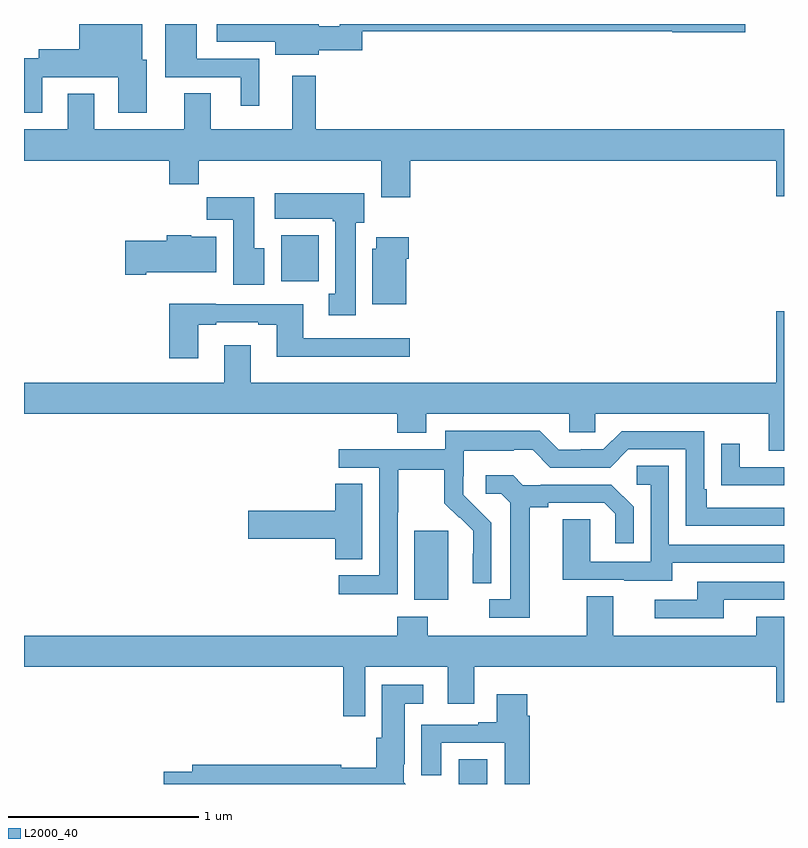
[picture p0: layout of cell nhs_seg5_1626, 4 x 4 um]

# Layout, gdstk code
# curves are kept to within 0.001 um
import gdstk
lib = gdstk.Library(unit=1e-6, precision=1e-09)
def R(c, l, rs):  # rectangles x0, y0, x1, y1
    for r in rs: c.add(gdstk.rectangle(r[:2], r[2:], *l))
def P(c, l, *ps):  # polygons
    for p in ps: c.add(gdstk.Polygon(p, *l))
L2000_40 = (2000, 40)

nhs_seg5_1626 = lib.new_cell('nhs_seg5_1626')
R(nhs_seg5_1626, L2000_40, [(211.289,866.799,211.438,866.93), (211.055,867.77,211.234,868.131), (210.353,869.444,210.55,869.686)])
P(nhs_seg5_1626, L2000_40, [(210.55,870.66),(210.779,870.66),(210.779,870.76),(212.412,870.76),(212.412,870.755),(212.797,870.755),(212.797,870.799),(210.663,870.799),(210.663,870.788),(210.55,870.788),(210.55,870.799),(210.015,870.799),(210.015,870.705),(210.323,870.705),(210.323,870.638),(210.55,870.638)],
  [(209.095,870.518),(209.495,870.518),(209.495,870.333),(209.647,870.333),(209.647,870.612),(209.623,870.612),(209.623,870.799),(209.291,870.799),(209.291,870.667),(209.078,870.667),(209.078,870.62),(209,870.62),(209,870.333),(209.095,870.333)],
  [(210.238,870.615),(209.908,870.615),(209.908,870.799),(209.744,870.799),(209.744,870.519),(210.14,870.519),(210.14,870.369),(210.238,870.369)],
  [(211.034,870.08),(212.96,870.08),(212.96,869.892),(213,869.892),(213,870.244),(210.535,870.244),(210.535,870.526),(210.413,870.526),(210.413,870.244),(209.983,870.244),(209.983,870.434),(209.843,870.434),(209.843,870.244),(209.371,870.244),(209.371,870.433),(209.231,870.433),(209.231,870.244),(209,870.244),(209,870.08),(209.765,870.08),(209.765,869.956),(209.921,869.956),(209.921,870.08),(210.881,870.08),(210.881,869.886),(211.034,869.886)],
  [(210.745,869.754),(210.79,869.754),(210.79,869.908),(210.321,869.908),(210.321,869.774),(210.625,869.774),(210.625,869.761),(210.638,869.761),(210.638,869.378),(210.605,869.378),(210.605,869.265),(210.745,869.265)],
  [(210.265,869.62),(210.211,869.62),(210.211,869.887),(209.962,869.887),(209.962,869.768),(210.101,869.768),(210.101,869.427),(210.265,869.427)],
  [(209.644,869.492),(210.013,869.492),(210.013,869.68),(209.88,869.68),(209.88,869.686),(209.75,869.686),(209.75,869.658),(209.532,869.658),(209.532,869.48),(209.644,869.48)],
  [(211.012,869.564),(211.025,869.564),(211.025,869.677),(210.854,869.677),(210.854,869.616),(210.833,869.616),(210.833,869.324),(211.012,869.324)],
  [(209.917,869.217),(210.013,869.217),(210.013,869.229),(210.233,869.229),(210.233,869.217),(210.329,869.217),(210.329,869.048),(211.03,869.048),(211.03,869.145),(210.469,869.145),(210.469,869.325),(210.009,869.325),(210.009,869.326),(209.765,869.326),(209.765,869.04),(209.917,869.04)],
  [(213,869.287),(212.96,869.287),(212.96,868.912),(210.193,868.912),(210.193,869.107),(210.053,869.107),(210.053,868.912),(209,868.912),(209,868.748),(210.965,868.748),(210.965,868.649),(211.117,868.649),(211.117,868.748),(211.869,868.748),(211.869,868.65),(212.007,868.65),(212.007,868.748),(212.921,868.748),(212.921,868.554),(213,868.554)],
  [(210.966,868.228),(210.969,868.228),(210.969,868.452),(211.213,868.452),(211.213,868.277),(211.29,868.2),(211.293,868.203),(211.364,868.133),(211.364,868.01),(211.362,868.01),(211.362,867.856),(211.458,867.856),(211.458,868.174),(211.312,868.322),(211.312,868.419),(211.314,868.419),(211.314,868.553),(211.577,868.553),(211.577,868.557),(211.677,868.557),(211.77,868.464),(212.085,868.464),(212.181,868.56),(212.484,868.56),(212.484,868.158),(213,868.158),(213,868.254),(212.593,868.254),(212.593,868.351),(212.58,868.351),(212.58,868.656),(212.145,868.656),(212.049,868.56),(211.931,868.56),(211.931,868.557),(211.815,868.557),(211.715,868.657),(211.218,868.657),(211.218,868.56),(210.657,868.56),(210.657,868.464),(210.87,868.464),(210.87,867.897),(210.657,867.897),(210.657,867.799),(210.966,867.799)],
  [(213,868.467),(212.767,868.467),(212.767,868.591),(212.671,868.591),(212.671,868.372),(212.773,868.372),(212.773,868.371),(213,868.371)],
  [(212.413,867.963),(213,867.963),(213,868.059),(212.394,868.059),(212.394,868.475),(212.226,868.475),(212.226,868.374),(212.298,868.374),(212.298,867.969),(211.98,867.969),(211.98,868.193),(211.835,868.193),(211.835,867.873),(212.159,867.873),(212.159,867.869),(212.413,867.869)],
  [(211.663,868.256),(211.759,868.256),(211.759,868.278),(212.054,868.278),(212.111,868.221),(212.111,868.065),(212.208,868.065),(212.208,868.258),(212.092,868.374),(211.72,868.374),(211.72,868.371),(211.626,868.371),(211.574,868.423),(211.431,868.423),(211.431,868.326),(211.512,868.326),(211.559,868.279),(211.559,867.771),(211.449,867.771),(211.449,867.675),(211.663,867.675)],
  [(210.781,868.379),(210.638,868.379),(210.638,868.238),(210.18,868.238),(210.18,868.091),(210.638,868.091),(210.638,867.982),(210.781,867.982)],
  [(212.683,867.768),(213,867.768),(213,867.864),(212.543,867.864),(212.543,867.768),(212.319,867.768),(212.319,867.672),(212.683,867.672)],
  [(210.795,867.416),(211.229,867.416),(211.229,867.222),(211.369,867.222),(211.369,867.416),(212.96,867.416),(212.96,867.228),(213,867.228),(213,867.679),(212.855,867.679),(212.855,867.58),(212.101,867.58),(212.101,867.788),(211.961,867.788),(211.961,867.58),(211.125,867.58),(211.125,867.679),(210.965,867.679),(210.965,867.58),(209,867.58),(209,867.416),(210.679,867.416),(210.679,867.156),(210.795,867.156)],
  [(210.999,866.808),(210.999,866.902),(211.003,866.902),(211.003,867.221),(211.102,867.221),(211.102,867.322),(210.884,867.322),(210.884,867.042),(210.854,867.042),(210.854,866.885),(210.67,866.885),(210.67,866.9),(209.885,866.9),(209.885,866.864),(209.736,866.864),(209.736,866.799),(211.008,866.799)],
  [(211.661,867.158),(211.648,867.158),(211.648,867.271),(211.487,867.271),(211.487,867.124),(211.391,867.124),(211.391,867.111),(211.091,867.111),(211.091,866.844),(211.195,866.844),(211.195,867.015),(211.529,867.015),(211.529,866.799),(211.661,866.799)])

lib.write_gds('nhs_seg5_1626.gds')
